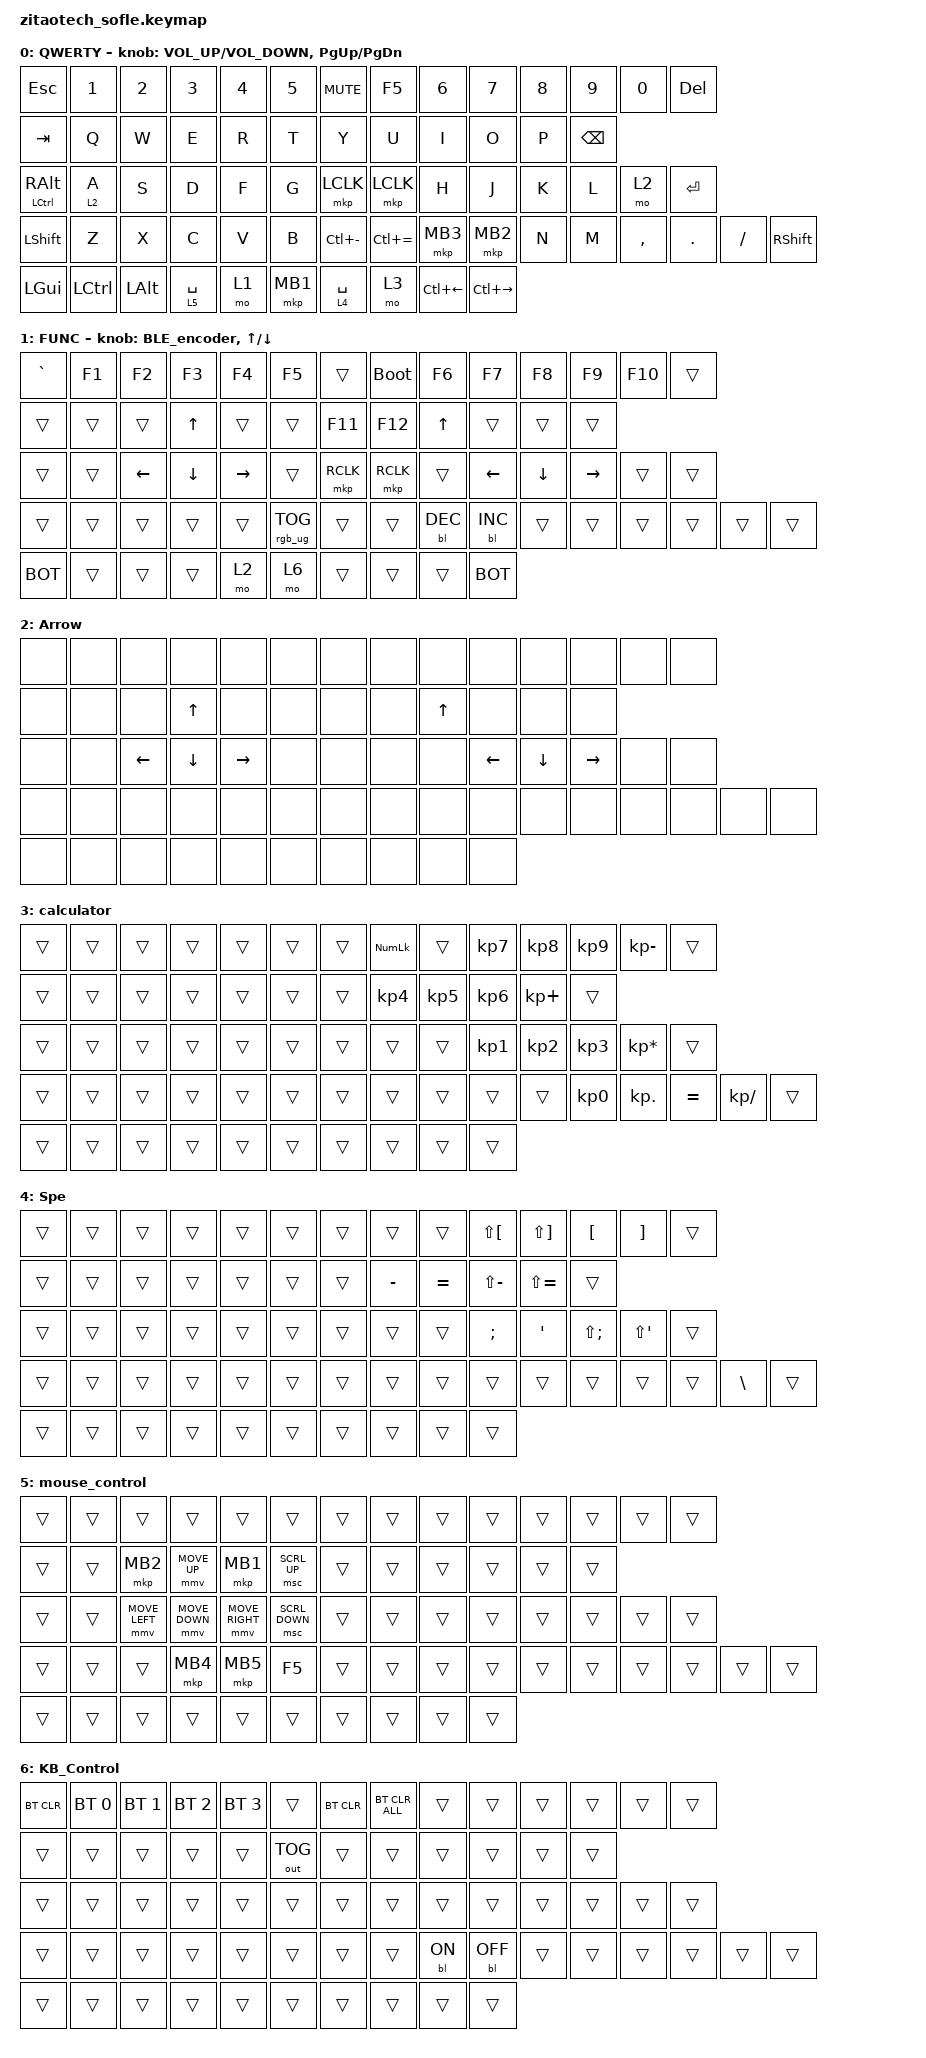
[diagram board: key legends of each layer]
/*
 * Copyright (c) 2025 ZitaoTech
 *
 * SPDX-License-Identifier: MIT
 */

#include <dt-bindings/zmk/mouse.h>
#include <behaviors.dtsi>
#include <dt-bindings/zmk/backlight.h>
#include <dt-bindings/zmk/bt.h>
#include <dt-bindings/zmk/keys.h>
#include <dt-bindings/zmk/outputs.h>
#include <dt-bindings/zmk/pointing.h>
#include <dt-bindings/zmk/rgb.h>

#define FUNC 1
#define RES 2
#define BOT bootloader

/ {
    behaviors {
        td0: tap_dance_0 {
            compatible = "zmk,behavior-tap-dance";
            #binding-cells = <0>;
            tapping-term-ms = <400>;
            bindings = <&mkp LCLK>, <&bt BT_CLR>;
        };

        hm: homerow_mods {
            compatible = "zmk,behavior-hold-tap";
            #binding-cells = <2>;
            tapping-term-ms = <200>;
            bindings = <&kp &kp>;
            label = "HOMEROW_MODS";
            quick-tap-ms = <130>;
            flavor = "tap-preferred";
        };

        sp_sc: behavior_spacescroll {
            compatible = "zmk,behavior-hold-tap";
            #binding-cells = <2>;
            flavor = "tap-preferred";
            tapping-term-ms = <200>;
            bindings = <&none &kp>;
        };

        BLE_encoder: BLE_encoder {
            compatible = "zmk,behavior-sensor-rotate";
            #sensor-binding-cells = <0>;
            bindings = <&bt BT_NXT>, <&bt BT_PRV>;
        };

        mouse_keypress: mouse_keypress {
            compatible = "zmk,behavior-mouse-key-press";
            label = "MOUSE_KEYPRESS";
            #binding-cells = <1>;
        };
    };

    combos {
        compatible = "zmk,combos";

        mulgyul {
            bindings = <&kp TILDE>;
            key-positions = <40 0>;
        };

        Q_mark {
            bindings = <&kp QUESTION>;
            key-positions = <55 54>;
        };

        MS_DW {
            bindings = <&msc SCRL_DOWN>;
            key-positions = <35 36>;
        };

        MS_UP {
            bindings = <&msc SCRL_UP>;
            key-positions = <21 22>;
        };

        MS_B2 {
            bindings = <&mkp MB2>;
            key-positions = <34 35>;
        };

        MS_B1 {
            bindings = <&mkp MB1>;
            key-positions = <20 21>;
        };

        MS_Forward {
            bindings = <&mkp MB5>;
            key-positions = <21 23>;
        };

        MS_Back {
            bindings = <&mkp MB4>;
            key-positions = <35 37>;
        };

        AltF4 {
            bindings = <&kp LA(F4)>;
            key-positions = <58 4>;
        };

        CTRL_W {
            bindings = <&kp LC(W)>;
            key-positions = <21 24>;
        };

        Refresh {
            bindings = <&kp F5>;
            key-positions = <51 52>;
        };

        Screenshot {
            bindings = <&kp LG(LS(S))>;
            key-positions = <26 27 28>;
        };
    };

    keymap {
        compatible = "zmk,keymap";

        default_layer {
            display-name = "QWERTY";
            bindings = <
&kp ESC         &kp N1     &kp N2    &kp N3       &kp N4  &kp N5    &kp C_MUTE     &kp F5         &kp N6              &kp N7               &kp N8  &kp N9         &kp N0     &kp DEL
&kp TAB         &kp Q      &kp W     &kp E        &kp R   &kp T     &kp Y          &kp U          &kp I               &kp O                &kp P   &kp BACKSPACE
&mt LCTRL RALT  &lt 2 A    &kp S     &kp D        &kp F   &kp G     &mkp LCLK      &mkp LCLK      &kp H               &kp J                &kp K   &kp L          &mo 2      &kp ENTER
&kp LSHFT       &kp Z      &kp X     &kp C        &kp V   &kp B     &kp LC(MINUS)  &kp LC(EQUAL)  &mkp MB3            &mkp MB2             &kp N   &kp M          &kp COMMA  &kp DOT    &kp SLASH  &kp RIGHT_SHIFT
&kp LEFT_GUI    &kp LCTRL  &kp LALT  &lt 5 SPACE  &mo 1   &mkp MB1  &lt 4 SPACE    &mo 3          &kp LC(LEFT_ARROW)  &kp LC(RIGHT_ARROW)
            >;

            sensor-bindings =
                <&inc_dec_kp C_VOLUME_UP C_VOLUME_DOWN>,
                <&inc_dec_kp PG_UP PG_DN>;
        };

        func_layer {
            display-name = "FUNC";
            bindings = <
&kp GRAVE  &kp F1  &kp F2          &kp F3          &kp F4           &kp F5           &trans     &bootloader  &kp F6        &kp F7          &kp F8          &kp F9           &kp F10  &trans
&trans     &trans  &trans          &kp UP_ARROW    &trans           &trans           &kp F11    &kp F12      &kp UP_ARROW  &trans          &trans          &trans
&trans     &trans  &kp LEFT_ARROW  &kp DOWN_ARROW  &kp RIGHT_ARROW  &trans           &mkp RCLK  &mkp RCLK    &trans        &kp LEFT_ARROW  &kp DOWN_ARROW  &kp RIGHT_ARROW  &trans   &trans
&trans     &trans  &trans          &trans          &trans           &rgb_ug RGB_TOG  &trans     &trans       &bl BL_DEC    &bl BL_INC      &trans          &trans           &trans   &trans  &trans  &trans
&BOT       &trans  &trans          &trans          &mo 2            &mo 6            &trans     &trans       &trans        &BOT
            >;

            sensor-bindings = <&BLE_encoder &inc_dec_kp UP DOWN>;
        };

        Arrow {
            display-name = "Arrow";
            bindings = <
&none  &none  &none           &none           &none            &none  &none  &none  &none         &none           &none           &none            &none  &none
&none  &none  &none           &kp UP_ARROW    &none            &none  &none  &none  &kp UP_ARROW  &none           &none           &none
&none  &none  &kp LEFT_ARROW  &kp DOWN_ARROW  &kp RIGHT_ARROW  &none  &none  &none  &none         &kp LEFT_ARROW  &kp DOWN_ARROW  &kp RIGHT_ARROW  &none  &none
&none  &none  &none           &none           &none            &none  &none  &none  &none         &none           &none           &none            &none  &none  &none  &none
&none  &none  &none           &none           &none            &none  &none  &none  &none         &none
            >;
        };

        calculator {
            bindings = <
&trans  &trans  &trans  &trans  &trans  &trans  &trans  &kp KP_NUMLOCK   &trans           &kp KP_NUMBER_7  &kp KP_NUMBER_8  &kp KP_NUMBER_9  &kp KP_MINUS     &trans
&trans  &trans  &trans  &trans  &trans  &trans  &trans  &kp KP_NUMBER_4  &kp KP_NUMBER_5  &kp KP_NUMBER_6  &kp KP_PLUS      &trans
&trans  &trans  &trans  &trans  &trans  &trans  &trans  &trans           &trans           &kp KP_NUMBER_1  &kp KP_NUMBER_2  &kp KP_NUMBER_3  &kp KP_MULTIPLY  &trans
&trans  &trans  &trans  &trans  &trans  &trans  &trans  &trans           &trans           &trans           &trans           &kp KP_NUMBER_0  &kp KP_DOT       &kp EQUAL  &kp KP_DIVIDE  &trans
&trans  &trans  &trans  &trans  &trans  &trans  &trans  &trans           &trans           &trans
            >;
        };

        Spe {
            bindings = <
&trans  &trans  &trans  &trans  &trans  &trans  &trans  &trans     &trans     &kp LS(LEFT_BRACKET)  &kp LS(RIGHT_BRACKET)  &kp LEFT_BRACKET   &kp RIGHT_BRACKET  &trans
&trans  &trans  &trans  &trans  &trans  &trans  &trans  &kp MINUS  &kp EQUAL  &kp LS(MINUS)         &kp LS(EQUAL)          &trans
&trans  &trans  &trans  &trans  &trans  &trans  &trans  &trans     &trans     &kp SEMICOLON         &kp SQT                &kp LS(SEMICOLON)  &kp LS(SQT)        &trans
&trans  &trans  &trans  &trans  &trans  &trans  &trans  &trans     &trans     &trans                &trans                 &trans             &trans             &trans  &kp BACKSLASH  &trans
&trans  &trans  &trans  &trans  &trans  &trans  &trans  &trans     &trans     &trans
            >;
        };

        mouse_control {
            bindings = <
&trans  &trans  &trans          &trans          &trans           &trans          &trans  &trans  &trans  &trans  &trans  &trans  &trans  &trans
&trans  &trans  &mkp MB2        &mmv MOVE_UP    &mkp MB1         &msc SCRL_UP    &trans  &trans  &trans  &trans  &trans  &trans
&trans  &trans  &mmv MOVE_LEFT  &mmv MOVE_DOWN  &mmv MOVE_RIGHT  &msc SCRL_DOWN  &trans  &trans  &trans  &trans  &trans  &trans  &trans  &trans
&trans  &trans  &trans          &mkp MB4        &mkp MB5         &kp F5          &trans  &trans  &trans  &trans  &trans  &trans  &trans  &trans  &trans  &trans
&trans  &trans  &trans          &trans          &trans           &trans          &trans  &trans  &trans  &trans
            >;
        };

        KB_Control {
            bindings = <
&bt BT_CLR  &bt BT_SEL 0  &bt BT_SEL 1  &bt BT_SEL 2  &bt BT_SEL 3  &trans        &bt BT_CLR  &bt BT_CLR_ALL  &trans     &trans      &trans  &trans  &trans  &trans
&trans      &trans        &trans        &trans        &trans        &out OUT_TOG  &trans      &trans          &trans     &trans      &trans  &trans
&trans      &trans        &trans        &trans        &trans        &trans        &trans      &trans          &trans     &trans      &trans  &trans  &trans  &trans
&trans      &trans        &trans        &trans        &trans        &trans        &trans      &trans          &bl BL_ON  &bl BL_OFF  &trans  &trans  &trans  &trans  &trans  &trans
&trans      &trans        &trans        &trans        &trans        &trans        &trans      &trans          &trans     &trans
            >;
        };
    };
};
